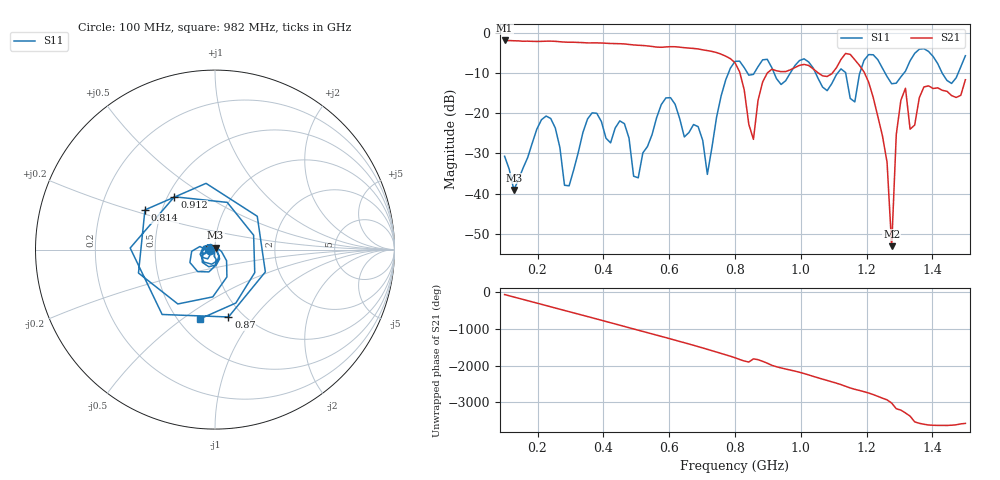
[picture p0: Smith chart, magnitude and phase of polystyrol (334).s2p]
! NanoVNA-App
! Date: 2025-09-25 15:32:29
! Start: 100MHz Stop: 1,5GHz Points: 101
! S-Parameter data: F S11 S21 S12 S22
# Hz S RI R 50
!  Frequency  S11_Real  S11_Imag  S21_Real  S21_Imag  S12_Real  S12_Imag  S22_Real  S22_Imag
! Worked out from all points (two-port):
!   101 points, 100 MHz to 1.5 GHz, reference 50 ohm
!   highest |S21| = -1.80 dB at 100 MHz (marker M1); lowest = -53.1 dB at 1.276 GHz (marker M2)
!   |S21| within 3 dB of the highest: start of sweep to 742.9 MHz
!   lowest |S11| = -39.1 dB at 128 MHz (marker M3), VSWR 1.02, Z = 50.3 + j1.06 ohm
!   |S11| at or under -10 dB: start of sweep to 779.7 MHz; 1.045 GHz to 1.111 GHz (66.01 MHz wide, 6.12 % of centre); 1.257 GHz to 1.313 GHz (56.05 MHz wide, 4.36 % of centre) (the widest 3 of 7)
!   S12 and S22 are empty: the file has one direction only
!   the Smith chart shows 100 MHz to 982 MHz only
!   S11 on the Smith chart (normalised r, x): 100 MHz: 0.94, -0.01; 814 MHz: 0.40, +0.22; 870 MHz: 0.86, -0.75; 912 MHz: 0.54, +0.37; 982 MHz: 0.64, -0.58
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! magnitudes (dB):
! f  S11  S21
! 100 MHz  -30.7  -1.8
! 128 MHz  -39.1  -1.9
! 212 MHz  -21.6  -2.0
! 282 MHz  -37.9  -2.2
! 338 MHz  -24.7  -2.3
! 506 MHz  -36.1  -3.0
! 576 MHz  -17.8  -3.5
! 716 MHz  -35.2  -4.3
! 800 MHz  -7.0  -7.4
! 814 MHz  -7.0  -9.6
! 856 MHz  -10.3  -26.5
! 870 MHz  -8.3  -16.7
! 912 MHz  -8.6  -9.0
! 982 MHz  -8.1  -8.6
! 1.038 GHz  -8.7  -8.9
! 1.164 GHz  -17.1  -6.6
! 1.206 GHz  -5.3  -12.2
! 1.262 GHz  -10.8  -32.2
! 1.276 GHz  -12.6  -53.1
! 1.29 GHz  -12.5  -25.3
! 1.318 GHz  -9.5  -13.7
! 1.5 GHz  -5.6  -11.6
